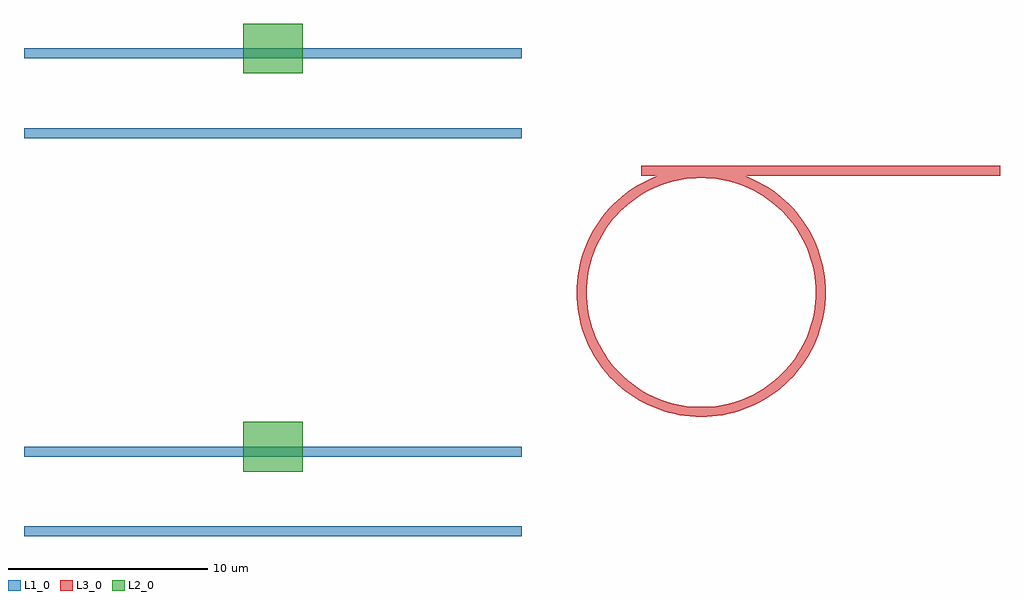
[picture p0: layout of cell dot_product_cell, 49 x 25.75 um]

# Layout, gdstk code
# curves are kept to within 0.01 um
import gdstk
lib = gdstk.Library(unit=1e-6, precision=1e-09)
def R(c, l, rs):  # rectangles x0, y0, x1, y1
    for r in rs: c.add(gdstk.rectangle(r[:2], r[2:], *l))
def P(c, l, *ps):  # polygons
    for p in ps: c.add(gdstk.Polygon(p, *l))
L1_0 = (1, 0)
L2_0 = (2, 0)
L3_0 = (3, 0)

straight_l10_n2_csxs_b6_ = lib.new_cell('straight_L10_N2_CSxs_b6_59fcd6c7')
R(straight_l10_n2_csxs_b6_, L1_0, [(0,-0.25,10,0.25)])

straight_l5_n2_csxs_b67_ = lib.new_cell('straight_L5_N2_CSxs_b67_ea454658')
R(straight_l5_n2_csxs_b67_, L1_0, [(0,-0.25,5,0.25)])

rectangle_s3_2p5_l2_0_c_ = lib.new_cell('rectangle_S3_2p5_L2_0_C_d50a589f')
R(rectangle_s3_2p5_l2_0_c_, L2_0, [(0,0,3,2.5)])

mzi_pp = lib.new_cell('mzi_PP')
mzi_pp.add(gdstk.Reference(straight_l10_n2_csxs_b6_, (5,12)))
mzi_pp.add(gdstk.Reference(straight_l10_n2_csxs_b6_, (5,8)))
mzi_pp.add(gdstk.Reference(straight_l5_n2_csxs_b67_, (15,12)))
mzi_pp.add(gdstk.Reference(straight_l5_n2_csxs_b67_, (15,8)))
mzi_pp.add(gdstk.Reference(straight_l10_n2_csxs_b6_, (20,12)))
mzi_pp.add(gdstk.Reference(straight_l10_n2_csxs_b6_, (20,8)))
mzi_pp.add(gdstk.Reference(rectangle_s3_2p5_l2_0_c_, (16,11)))

mzi_pn = lib.new_cell('mzi_PN')
mzi_pn.add(gdstk.Reference(straight_l10_n2_csxs_b6_, (5,-8)))
mzi_pn.add(gdstk.Reference(straight_l10_n2_csxs_b6_, (5,-12)))
mzi_pn.add(gdstk.Reference(straight_l5_n2_csxs_b67_, (15,-8)))
mzi_pn.add(gdstk.Reference(straight_l5_n2_csxs_b67_, (15,-12)))
mzi_pn.add(gdstk.Reference(straight_l10_n2_csxs_b6_, (20,-8)))
mzi_pn.add(gdstk.Reference(straight_l10_n2_csxs_b6_, (20,-12)))
mzi_pn.add(gdstk.Reference(rectangle_s3_2p5_l2_0_c_, (16,-9)))

ring_r6_w0p5_ar2p5_l3_0_ = lib.new_cell('ring_R6_W0p5_AR2p5_L3_0_A360')
P(ring_r6_w0p5_ar2p5_l3_0_, L3_0, [(0,-6.25),(-0.273,-6.244),(-0.816,-6.197),(-1.353,-6.102),(-1.879,-5.961),(-2.392,-5.774),(-2.886,-5.544),(-3.125,-5.413),(-3.585,-5.12),(-4.017,-4.788),(-4.419,-4.419),(-4.788,-4.017),(-5.12,-3.585),(-5.413,-3.125),(-5.544,-2.886),(-5.774,-2.392),(-5.961,-1.879),(-6.102,-1.353),(-6.197,-0.816),(-6.244,-0.273),(-6.25,0),(-6.244,0.273),(-6.197,0.816),(-6.102,1.353),(-5.961,1.879),(-5.774,2.392),(-5.544,2.886),(-5.413,3.125),(-5.12,3.585),(-4.788,4.017),(-4.419,4.419),(-4.017,4.788),(-3.585,5.12),(-3.125,5.413),(-2.886,5.544),(-2.392,5.774),(-1.879,5.961),(-1.353,6.102),(-0.816,6.197),(-0.273,6.244),(0,6.25),(0.273,6.244),(0.816,6.197),(1.353,6.102),(1.879,5.961),(2.392,5.774),(2.886,5.544),(3.125,5.413),(3.585,5.12),(4.017,4.788),(4.419,4.419),(4.788,4.017),(5.12,3.585),(5.413,3.125),(5.544,2.886),(5.774,2.392),(5.961,1.879),(6.102,1.353),(6.197,0.816),(6.244,0.273),(6.25,0),(5.75,0),(5.745,0.251),(5.701,0.751),(5.614,1.245),(5.484,1.729),(5.312,2.2),(5.1,2.655),(4.85,3.089),(4.562,3.5),(4.405,3.696),(4.066,4.066),(3.696,4.405),(3.5,4.562),(3.089,4.85),(2.875,4.98),(2.43,5.211),(2.2,5.312),(1.729,5.484),(1.245,5.614),(0.751,5.701),(0.501,5.728),(0.251,5.745),(-0.251,5.745),(-0.751,5.701),(-1.245,5.614),(-1.729,5.484),(-1.967,5.403),(-2.43,5.211),(-2.875,4.98),(-3.089,4.85),(-3.5,4.562),(-3.696,4.405),(-4.066,4.066),(-4.405,3.696),(-4.562,3.5),(-4.85,3.089),(-4.98,2.875),(-5.211,2.43),(-5.403,1.967),(-5.484,1.729),(-5.614,1.245),(-5.663,0.998),(-5.701,0.751),(-5.745,0.251),(-5.745,-0.251),(-5.728,-0.501),(-5.701,-0.751),(-5.614,-1.245),(-5.484,-1.729),(-5.403,-1.967),(-5.211,-2.43),(-4.98,-2.875),(-4.85,-3.089),(-4.562,-3.5),(-4.405,-3.696),(-4.066,-4.066),(-3.696,-4.405),(-3.5,-4.562),(-3.089,-4.85),(-2.875,-4.98),(-2.43,-5.211),(-2.2,-5.312),(-1.729,-5.484),(-1.245,-5.614),(-0.998,-5.663),(-0.751,-5.701),(-0.251,-5.745),(0.251,-5.745),(0.501,-5.728),(0.751,-5.701),(1.245,-5.614),(1.729,-5.484),(1.967,-5.403),(2.43,-5.211),(2.875,-4.98),(3.089,-4.85),(3.5,-4.562),(3.696,-4.405),(4.066,-4.066),(4.405,-3.696),(4.562,-3.5),(4.85,-3.089),(4.98,-2.875),(5.211,-2.43),(5.403,-1.967),(5.484,-1.729),(5.614,-1.245),(5.663,-0.998),(5.728,-0.501),(5.75,0),(6.25,0),(6.244,-0.273),(6.197,-0.816),(6.102,-1.353),(5.961,-1.879),(5.774,-2.392),(5.544,-2.886),(5.413,-3.125),(5.12,-3.585),(4.788,-4.017),(4.419,-4.419),(4.017,-4.788),(3.585,-5.12),(3.125,-5.413),(2.886,-5.544),(2.392,-5.774),(1.879,-5.961),(1.353,-6.102),(0.816,-6.197),(0.273,-6.244)])

straight_l18_n2_csxs_05_ = lib.new_cell('straight_L18_N2_CSxs_05_513b5ab6')
R(straight_l18_n2_csxs_05_, L3_0, [(0,-0.25,18,0.25)])

dot_product_cell = lib.new_cell('dot_product_cell')
dot_product_cell.add(gdstk.Reference(mzi_pp, (0,0)))
dot_product_cell.add(gdstk.Reference(mzi_pn, (0,0)))
dot_product_cell.add(gdstk.Reference(ring_r6_w0p5_ar2p5_l3_0_, (39,0)))
dot_product_cell.add(gdstk.Reference(straight_l18_n2_csxs_05_, (36,6.1)))

lib.write_gds('dot_product_cell.gds')
